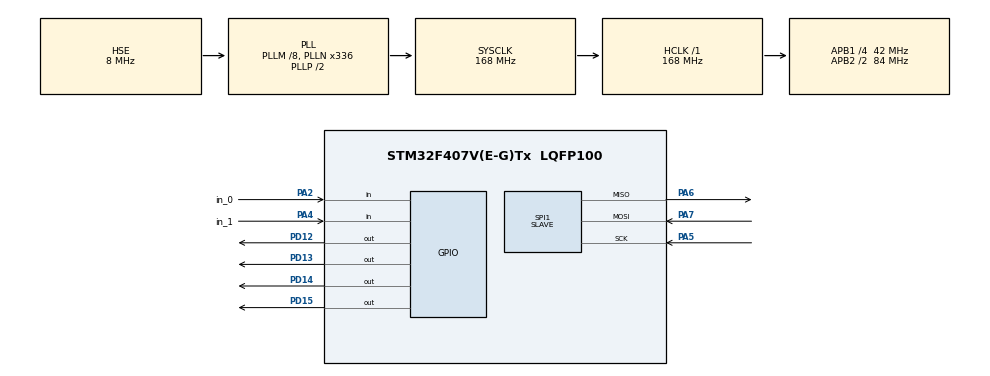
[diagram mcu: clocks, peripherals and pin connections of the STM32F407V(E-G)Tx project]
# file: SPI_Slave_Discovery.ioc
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Mcu.Family=STM32F4
Mcu.Name=STM32F407V(E-G)Tx
Mcu.Package=LQFP100
NVIC.PriorityGroup=NVIC_PRIORITYGROUP_0
NVIC.SPI1_IRQn=true\:0\:0\:false\:false\:true\:true\:true\:true
PA13.Mode=Serial_Wire
PA13.Signal=SYS_JTMS-SWDIO
PA14.Mode=Serial_Wire
PA14.Signal=SYS_JTCK-SWCLK
PA2.GPIO_Label=in_0
PA2.Signal=GPIO_Input
PA4.GPIO_Label=in_1
PA4.Signal=GPIO_Input
PA5.Mode=Full_Duplex_Slave
PA5.Signal=SPI1_SCK
PA6.Mode=Full_Duplex_Slave
PA6.Signal=SPI1_MISO
PA7.Mode=Full_Duplex_Slave
PA7.Signal=SPI1_MOSI
PC14-OSC32_IN.Mode=LSE-External-Oscillator
PC14-OSC32_IN.Signal=RCC_OSC32_IN
PC15-OSC32_OUT.Mode=LSE-External-Oscillator
PC15-OSC32_OUT.Signal=RCC_OSC32_OUT
PD12.Signal=GPIO_Output
PD13.Signal=GPIO_Output
PD14.Signal=GPIO_Output
PD15.Signal=GPIO_Output
PH0-OSC_IN.Mode=HSE-External-Oscillator
PH0-OSC_IN.Signal=RCC_OSC_IN
PH1-OSC_OUT.Mode=HSE-External-Oscillator
PH1-OSC_OUT.Signal=RCC_OSC_OUT
ProjectManager.HeapSize=0x200
ProjectManager.StackSize=0x400
ProjectManager.TargetToolchain=STM32CubeIDE
RCC.48MHZClocksFreq_Value=48000000
RCC.AHBFreq_Value=168000000
RCC.APB1CLKDivider=RCC_HCLK_DIV4
RCC.APB1Freq_Value=42000000
RCC.APB1TimFreq_Value=84000000
RCC.APB2CLKDivider=RCC_HCLK_DIV2
RCC.APB2Freq_Value=84000000
RCC.APB2TimFreq_Value=168000000
RCC.CortexFreq_Value=168000000
RCC.HCLKFreq_Value=168000000
RCC.HSE_VALUE=8000000
RCC.HSI_VALUE=16000000
RCC.PLLM=8
RCC.PLLN=336
RCC.PLLQ=7
RCC.PLLSourceVirtual=RCC_PLLSOURCE_HSE
RCC.SYSCLKFreq_VALUE=168000000
RCC.SYSCLKSource=RCC_SYSCLKSOURCE_PLLCLK
RCC.VCOOutputFreq_Value=336000000
SPI1.Direction=SPI_DIRECTION_2LINES
SPI1.Mode=SPI_MODE_SLAVE
SPI1.VirtualType=VM_SLAVE
board=STM32F407G-DISC1

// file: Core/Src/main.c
/* USER CODE BEGIN Header */
/**
  ******************************************************************************
  * @file           : main.c
  * @brief          : Main program body
  ******************************************************************************
  * @attention
  *
  * Copyright (c) 2023 STMicroelectronics.
  * All rights reserved.
  *
  * This software is licensed under terms that can be found in the LICENSE file
  * in the root directory of this software component.
  * If no LICENSE file comes with this software, it is provided AS-IS.
  *
  ******************************************************************************
  */
/* USER CODE END Header */
#include "main.h"
#include <math.h>

SPI_HandleTypeDef hspi1;

void SystemClock_Config(void);
static void MX_GPIO_Init(void);
static void MX_SPI1_Init(void);

uint8_t received_data[1];

int main(void)
{

  /* MCU Configuration--------------------------------------------------------*/

  /* Reset of all peripherals, Initializes the Flash interface and the Systick. */
  HAL_Init();

  /* Configure the system clock */
  SystemClock_Config();

  /* Initialize all configured peripherals */
  MX_GPIO_Init();
  MX_SPI1_Init();
  /* USER CODE BEGIN 2 */
  HAL_SYSTICK_Config(SystemCoreClock / 1000);
  HAL_SPI_Receive_IT(&hspi1, received_data, sizeof(received_data));

/* PIN DEFINITIONS
#define in_0_Pin GPIO_PIN_2
#define in_0_GPIO_Port GPIOA
#define in_1_Pin GPIO_PIN_4
#define in_1_GPIO_Port GPIOA
*/
  /* USER CODE END 2 */

  /* Infinite loop */
  /* USER CODE BEGIN WHILE */
  uint32_t hold_tick=0;
  uint8_t state;
  while (1)
  {
	  if(HAL_GPIO_ReadPin(GPIOA, in_1_Pin) == 0 && HAL_GPIO_ReadPin(GPIOA, in_0_Pin) == 0){
		  state = 0;
	  }
	  if(HAL_GPIO_ReadPin(GPIOA, in_1_Pin) == 0 && HAL_GPIO_ReadPin(GPIOA, in_0_Pin) == 1){
		  state = 1;
	  }
	  if(HAL_GPIO_ReadPin(GPIOA, in_1_Pin) == 1 && HAL_GPIO_ReadPin(GPIOA, in_0_Pin) == 0){
		  state = 2;
	  }
	  if(HAL_GPIO_ReadPin(GPIOA, in_1_Pin) == 1 && HAL_GPIO_ReadPin(GPIOA, in_0_Pin) == 1){
		  state = 3;
	  }

	  switch(state)
	    {
	      case 0:
	    	  if(received_data[0] == 11){
	    			  	  	  	  HAL_GPIO_WritePin(GPIOD, GPIO_PIN_13|GPIO_PIN_14|GPIO_PIN_15, GPIO_PIN_RESET);
	    			  	  	  	  HAL_GPIO_WritePin(GPIOD, GPIO_PIN_12, GPIO_PIN_SET);
	    	  }
	    	  	  	  	  if(received_data[0] == 22 && (abs((HAL_GetTick()-hold_tick >=200)) )){
	    		  	  	  	  	  HAL_GPIO_WritePin(GPIOD, GPIO_PIN_13|GPIO_PIN_14|GPIO_PIN_15, GPIO_PIN_RESET);
	    		  	  	  	  	  HAL_GPIO_TogglePin(GPIOD, GPIO_PIN_12);
	    		  	  	  	  	  hold_tick = HAL_GetTick();
	    	  }
	        break;
	      case 1:
	    	  if(received_data[0] == 11){
	    	 	    			  HAL_GPIO_WritePin(GPIOD, GPIO_PIN_12|GPIO_PIN_14|GPIO_PIN_15, GPIO_PIN_RESET);
	    	 	    	  	  	  HAL_GPIO_WritePin(GPIOD, GPIO_PIN_13, GPIO_PIN_SET);
	    	 	    	  }
	    	 	    	  if(received_data[0] == 22 && (abs((HAL_GetTick()-hold_tick >=200)) )){
	    	 	    		  	  HAL_GPIO_WritePin(GPIOD, GPIO_PIN_12|GPIO_PIN_14|GPIO_PIN_15, GPIO_PIN_RESET);
	    	 	    		  	  HAL_GPIO_TogglePin(GPIOD, GPIO_PIN_13);
	    	 	    		  	  hold_tick = HAL_GetTick();
	    	 	    	  }
	        break;
	      case 2:
	    	  if(received_data[0] == 11){
	    	 	    			  HAL_GPIO_WritePin(GPIOD, GPIO_PIN_13|GPIO_PIN_12|GPIO_PIN_15, GPIO_PIN_RESET);
	    	 	    	  	  	  HAL_GPIO_WritePin(GPIOD, GPIO_PIN_14, GPIO_PIN_SET);
	    	 	    	  }
	    	 	    	  if(received_data[0] == 22 && (abs((HAL_GetTick()-hold_tick >=200)) )){
	    	 	    		  	  HAL_GPIO_WritePin(GPIOD, GPIO_PIN_13|GPIO_PIN_12|GPIO_PIN_15, GPIO_PIN_RESET);
	    	 	    		  	  HAL_GPIO_TogglePin(GPIOD, GPIO_PIN_14);
	    	 	    		  	  hold_tick = HAL_GetTick();
	    	 	    	  }
	        break;
	      case 3:
	    	  if(received_data[0] == 11){
	    	 	    			  HAL_GPIO_WritePin(GPIOD, GPIO_PIN_13|GPIO_PIN_14|GPIO_PIN_12, GPIO_PIN_RESET);
	    	 	    	  	  	  HAL_GPIO_WritePin(GPIOD, GPIO_PIN_15, GPIO_PIN_SET);
	    	 	    	  }
	    	 	    	  if(received_data[0] == 22 && (abs((HAL_GetTick()-hold_tick >=200)) )){
	    	 	    		  	  HAL_GPIO_WritePin(GPIOD, GPIO_PIN_13|GPIO_PIN_14|GPIO_PIN_12, GPIO_PIN_RESET);
	    	 	    		  	  HAL_GPIO_TogglePin(GPIOD, GPIO_PIN_15);
	    	 	    		  	  hold_tick = HAL_GetTick();
	    	 	    	  }
	        break;
	      default:
	    	  HAL_GPIO_WritePin(GPIOD, GPIO_PIN_12|GPIO_PIN_13|GPIO_PIN_14|GPIO_PIN_15, GPIO_PIN_RESET);
	        break;
	    }
    /* USER CODE END WHILE */
  }
}

void SystemClock_Config(void)
{
  RCC_OscInitTypeDef RCC_OscInitStruct = {0};
  RCC_ClkInitTypeDef RCC_ClkInitStruct = {0};

  /** Configure the main internal regulator output voltage
  */
  __HAL_RCC_PWR_CLK_ENABLE();
  __HAL_PWR_VOLTAGESCALING_CONFIG(PWR_REGULATOR_VOLTAGE_SCALE1);

  /** Initializes the RCC Oscillators according to the specified parameters
  * in the RCC_OscInitTypeDef structure.
  */
  RCC_OscInitStruct.OscillatorType = RCC_OSCILLATORTYPE_HSE;
  RCC_OscInitStruct.HSEState = RCC_HSE_ON;
  RCC_OscInitStruct.PLL.PLLState = RCC_PLL_ON;
  RCC_OscInitStruct.PLL.PLLSource = RCC_PLLSOURCE_HSE;
  RCC_OscInitStruct.PLL.PLLM = 8;
  RCC_OscInitStruct.PLL.PLLN = 336;
  RCC_OscInitStruct.PLL.PLLP = RCC_PLLP_DIV2;
  RCC_OscInitStruct.PLL.PLLQ = 7;
  if (HAL_RCC_OscConfig(&RCC_OscInitStruct) != HAL_OK)
  {
    Error_Handler();
  }

  /** Initializes the CPU, AHB and APB buses clocks
  */
  RCC_ClkInitStruct.ClockType = RCC_CLOCKTYPE_HCLK|RCC_CLOCKTYPE_SYSCLK
                              |RCC_CLOCKTYPE_PCLK1|RCC_CLOCKTYPE_PCLK2;
  RCC_ClkInitStruct.SYSCLKSource = RCC_SYSCLKSOURCE_PLLCLK;
  RCC_ClkInitStruct.AHBCLKDivider = RCC_SYSCLK_DIV1;
  RCC_ClkInitStruct.APB1CLKDivider = RCC_HCLK_DIV4;
  RCC_ClkInitStruct.APB2CLKDivider = RCC_HCLK_DIV2;

  if (HAL_RCC_ClockConfig(&RCC_ClkInitStruct, FLASH_LATENCY_5) != HAL_OK)
  {
    Error_Handler();
  }
}

static void MX_SPI1_Init(void)
{

  /* SPI1 parameter configuration*/
  hspi1.Instance = SPI1;
  hspi1.Init.Mode = SPI_MODE_SLAVE;
  hspi1.Init.Direction = SPI_DIRECTION_2LINES;
  hspi1.Init.DataSize = SPI_DATASIZE_8BIT;
  hspi1.Init.CLKPolarity = SPI_POLARITY_LOW;
  hspi1.Init.CLKPhase = SPI_PHASE_1EDGE;
  hspi1.Init.NSS = SPI_NSS_SOFT;
  hspi1.Init.FirstBit = SPI_FIRSTBIT_MSB;
  hspi1.Init.TIMode = SPI_TIMODE_DISABLE;
  hspi1.Init.CRCCalculation = SPI_CRCCALCULATION_DISABLE;
  hspi1.Init.CRCPolynomial = 10;
  if (HAL_SPI_Init(&hspi1) != HAL_OK)
  {
    Error_Handler();
  }

}

static void MX_GPIO_Init(void)
{
  GPIO_InitTypeDef GPIO_InitStruct = {0};

  /* GPIO Ports Clock Enable */
  __HAL_RCC_GPIOC_CLK_ENABLE();
  __HAL_RCC_GPIOH_CLK_ENABLE();
  __HAL_RCC_GPIOA_CLK_ENABLE();
  __HAL_RCC_GPIOD_CLK_ENABLE();

  /*Configure GPIO pin Output Level */
  HAL_GPIO_WritePin(GPIOD, GPIO_PIN_12|GPIO_PIN_13|GPIO_PIN_14|GPIO_PIN_15, GPIO_PIN_RESET);

  /*Configure GPIO pins : in_0_Pin in_1_Pin */
  GPIO_InitStruct.Pin = in_0_Pin|in_1_Pin;
  GPIO_InitStruct.Mode = GPIO_MODE_INPUT;
  GPIO_InitStruct.Pull = GPIO_NOPULL;
  HAL_GPIO_Init(GPIOA, &GPIO_InitStruct);

  /*Configure GPIO pins : PD12 PD13 PD14 PD15 */
  GPIO_InitStruct.Pin = GPIO_PIN_12|GPIO_PIN_13|GPIO_PIN_14|GPIO_PIN_15;
  GPIO_InitStruct.Mode = GPIO_MODE_OUTPUT_PP;
  GPIO_InitStruct.Pull = GPIO_NOPULL;
  GPIO_InitStruct.Speed = GPIO_SPEED_FREQ_LOW;
  HAL_GPIO_Init(GPIOD, &GPIO_InitStruct);

}

/* USER CODE BEGIN 4 */
void  HAL_SPI_RxCpltCallback(SPI_HandleTypeDef *hspi){
	HAL_SPI_Receive_IT(&hspi1, received_data, 1);
}
/* USER CODE END 4 */

void Error_Handler(void)
{
  __disable_irq();
  while (1)
  {
  }
}
